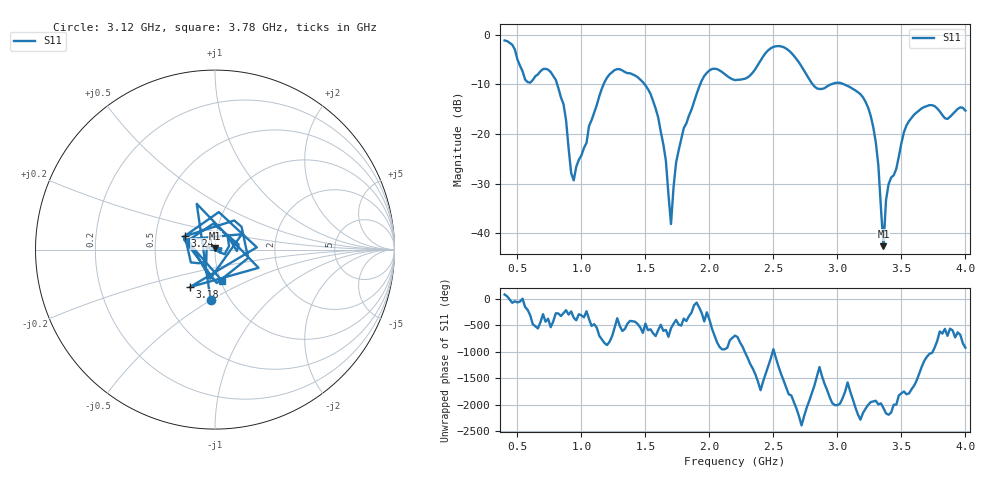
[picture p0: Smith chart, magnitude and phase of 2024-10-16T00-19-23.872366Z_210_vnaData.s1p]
! Created with skrf (http://scikit-rf.org).
# Hz S RI R 50.0
!freq ReS11 ImS11
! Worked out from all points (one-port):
!   181 points, 400 MHz to 4 GHz, reference 50 ohm
!   lowest |S11| = -42.6 dB at 3.36 GHz (marker M1), VSWR 1.01, Z = 49.9 + j0.735 ohm
!   |S11| at or under -10 dB: 810.7 MHz to 1.174 GHz (363.1 MHz wide, 36.6 % of centre); 1.493 GHz to 1.928 GHz (435.1 MHz wide, 25.4 % of centre); 3.05 GHz to end of sweep (the widest 3 of 4)
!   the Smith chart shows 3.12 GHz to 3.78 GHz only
!   S11 on the Smith chart (normalised r, x): 3.12 GHz: 0.81, -0.50; 3.18 GHz: 0.70, -0.31; 3.24 GHz: 0.71, +0.11; 3.78 GHz: 1.02, -0.37
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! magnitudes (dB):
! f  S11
! 400 MHz  -1.2
! 580 MHz  -9.6
! 760 MHz  -7.5
! 860 MHz  -14.0
! 940 MHz  -29.4
! 1.18 GHz  -9.6
! 1.3 GHz  -7.0
! 1.48 GHz  -9.6
! 1.58 GHz  -14.9
! 1.66 GHz  -25.4
! 1.7 GHz  -38.1
! 1.76 GHz  -23.3
! 1.96 GHz  -8.3
! 2.2 GHz  -9.2
! 2.5 GHz  -2.5
! 2.66 GHz  -4.3
! 2.84 GHz  -10.8
! 3.1 GHz  -10.6
! 3.12 GHz  -10.9
! 3.18 GHz  -12.0
! 3.24 GHz  -14.7
! 3.3 GHz  -21.7
! 3.36 GHz  -42.6
! 3.38 GHz  -33.3
! 3.4 GHz  -30.1
! 3.56 GHz  -17.4
! 3.78 GHz  -14.9
! 4 GHz  -15.3
